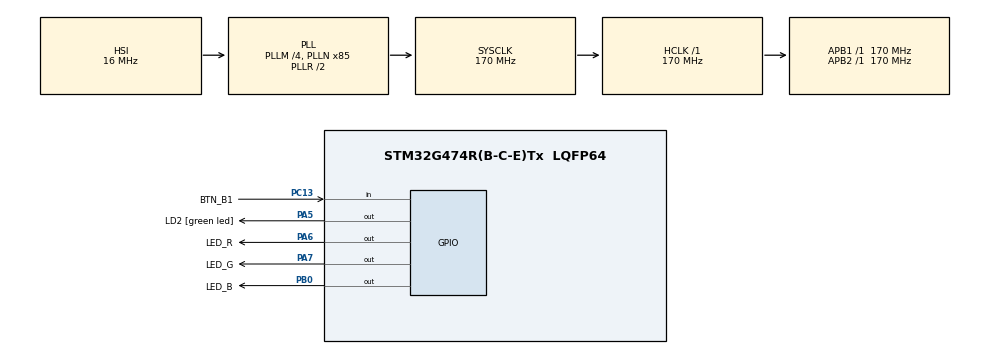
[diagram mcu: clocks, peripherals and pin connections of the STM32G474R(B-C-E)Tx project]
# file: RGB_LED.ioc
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Mcu.Family=STM32G4
Mcu.Name=STM32G474R(B-C-E)Tx
Mcu.Package=LQFP64
NUCLEO-G474RE.BUTTON=0
NUCLEO-G474RE.VCP=true
NVIC.PriorityGroup=NVIC_PRIORITYGROUP_4
PA13.GPIO_Label=T_SWDIO
PA13.Signal=SYS_JTMS-SWDIO
PA14.GPIO_Label=T_SWCLK
PA14.Signal=SYS_JTCK-SWCLK
PA5.GPIO_Label=LD2 [green led]
PA5.Signal=GPIO_Output
PA6.GPIO_Label=LED_R
PA6.Signal=GPIO_Output
PA7.GPIO_Label=LED_G
PA7.Signal=GPIO_Output
PB0.GPIO_Label=LED_B
PB0.Signal=GPIO_Output
PB3.GPIO_Label=T_SWO
PB3.Signal=SYS_JTDO-SWO
PC13.GPIO_Label=BTN_B1
PC13.GPIO_PuPd=GPIO_PULLUP
PC13.Signal=GPIO_Input
PC14-OSC32_IN.GPIO_Label=RCC_OSC32_IN
PC14-OSC32_IN.Signal=RCC_OSC32_IN
PC15-OSC32_OUT.GPIO_Label=RCC_OSC32_OUT
PC15-OSC32_OUT.Signal=RCC_OSC32_OUT
PF0-OSC_IN.GPIO_Label=RCC_OSC_IN
PF0-OSC_IN.Signal=RCC_OSC_IN
PF1-OSC_OUT.GPIO_Label=RCC_OSC_OUT
PF1-OSC_OUT.Signal=RCC_OSC_OUT
ProjectManager.HeapSize=0x200
ProjectManager.StackSize=0x400
ProjectManager.TargetToolchain=STM32CubeIDE
RCC.ADC12Freq_Value=170000000
RCC.ADC345Freq_Value=170000000
RCC.AHBFreq_Value=170000000
RCC.APB1Freq_Value=170000000
RCC.APB1TimFreq_Value=170000000
RCC.APB2Freq_Value=170000000
RCC.APB2TimFreq_Value=170000000
RCC.CortexFreq_Value=170000000
RCC.EXTERNAL_CLOCK_VALUE=12288000
RCC.HCLKFreq_Value=170000000
RCC.HSE_VALUE=24000000
RCC.HSI48_VALUE=48000000
RCC.HSI_VALUE=16000000
RCC.LSE_VALUE=32768
RCC.PLLM=RCC_PLLM_DIV4
RCC.PLLN=85
RCC.RTCClockSelection=RCC_RTCCLKSOURCE_LSE
RCC.SYSCLKFreq_VALUE=170000000
RCC.SYSCLKSource=RCC_SYSCLKSOURCE_PLLCLK
RCC.USBFreq_Value=170000000
RCC.VCOOutputFreq_Value=340000000
VP_NUCLEO-G474RE_VS_BSP_COMMON.Mode=COMMON
VP_SYS_VS_DBSignals.Mode=DisableDeadBatterySignals
board=NUCLEO-G474RE

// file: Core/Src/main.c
/* USER CODE BEGIN Header */
/* USER CODE END Header */
#include "main.h"

COM_InitTypeDef BspCOMInit;

/* USER CODE BEGIN PV */
#define LED_COMMON_ANODE 0

static inline void led_write(GPIO_TypeDef *port, uint16_t pin, uint8_t on)
{
  if (LED_COMMON_ANODE) {
    HAL_GPIO_WritePin(port, pin, on ? GPIO_PIN_RESET : GPIO_PIN_SET); // LOW=ON
  } else {
    HAL_GPIO_WritePin(port, pin, on ? GPIO_PIN_SET : GPIO_PIN_RESET); // HIGH=ON
  }
}

static inline void rgb(uint8_t r, uint8_t g, uint8_t b)
{
  led_write(GPIOA, GPIO_PIN_6, r); // R
  led_write(GPIOA, GPIO_PIN_7, g); // G
  led_write(GPIOB, GPIO_PIN_0, b); // B
}

/* USER CODE END PV */

void SystemClock_Config(void);
static void MX_GPIO_Init(void);

int main(void)
{

  /* MCU Configuration--------------------------------------------------------*/

  /* Reset of all peripherals, Initializes the Flash interface and the Systick. */
  HAL_Init();

  /* Configure the system clock */
  SystemClock_Config();

  /* Initialize all configured peripherals */
  MX_GPIO_Init();

  /* Initialize COM1 port (115200, 8 bits (7-bit data + 1 stop bit), no parity */
  BspCOMInit.BaudRate   = 115200;
  BspCOMInit.WordLength = COM_WORDLENGTH_8B;
  BspCOMInit.StopBits   = COM_STOPBITS_1;
  BspCOMInit.Parity     = COM_PARITY_NONE;
  BspCOMInit.HwFlowCtl  = COM_HWCONTROL_NONE;
  if (BSP_COM_Init(COM1, &BspCOMInit) != BSP_ERROR_NONE)
  {
    Error_Handler();
  }

  /* Infinite loop */
  /* USER CODE BEGIN WHILE */
  while (1)
  {
    rgb(1,0,0); HAL_Delay(600);  // Red
    rgb(0,1,0); HAL_Delay(600);  // Green
    rgb(0,0,1); HAL_Delay(600);  // Blue
    rgb(1,1,0); HAL_Delay(600);  // Yellow
    rgb(0,1,1); HAL_Delay(600);  // Cyan
    rgb(1,0,1); HAL_Delay(600);  // Magenta
    rgb(1,1,1); HAL_Delay(600);  // White
    rgb(0,0,0); HAL_Delay(600);  // Off
  }
  /* USER CODE END WHILE */

}

void SystemClock_Config(void)
{
  RCC_OscInitTypeDef RCC_OscInitStruct = {0};
  RCC_ClkInitTypeDef RCC_ClkInitStruct = {0};

  /** Configure the main internal regulator output voltage
  */
  HAL_PWREx_ControlVoltageScaling(PWR_REGULATOR_VOLTAGE_SCALE1_BOOST);

  /** Initializes the RCC Oscillators according to the specified parameters
  * in the RCC_OscInitTypeDef structure.
  */
  RCC_OscInitStruct.OscillatorType = RCC_OSCILLATORTYPE_HSI;
  RCC_OscInitStruct.HSIState = RCC_HSI_ON;
  RCC_OscInitStruct.HSICalibrationValue = RCC_HSICALIBRATION_DEFAULT;
  RCC_OscInitStruct.PLL.PLLState = RCC_PLL_ON;
  RCC_OscInitStruct.PLL.PLLSource = RCC_PLLSOURCE_HSI;
  RCC_OscInitStruct.PLL.PLLM = RCC_PLLM_DIV4;
  RCC_OscInitStruct.PLL.PLLN = 85;
  RCC_OscInitStruct.PLL.PLLP = RCC_PLLP_DIV2;
  RCC_OscInitStruct.PLL.PLLQ = RCC_PLLQ_DIV2;
  RCC_OscInitStruct.PLL.PLLR = RCC_PLLR_DIV2;
  if (HAL_RCC_OscConfig(&RCC_OscInitStruct) != HAL_OK)
  {
    Error_Handler();
  }

  /** Initializes the CPU, AHB and APB buses clocks
  */
  RCC_ClkInitStruct.ClockType = RCC_CLOCKTYPE_HCLK|RCC_CLOCKTYPE_SYSCLK
                              |RCC_CLOCKTYPE_PCLK1|RCC_CLOCKTYPE_PCLK2;
  RCC_ClkInitStruct.SYSCLKSource = RCC_SYSCLKSOURCE_PLLCLK;
  RCC_ClkInitStruct.AHBCLKDivider = RCC_SYSCLK_DIV1;
  RCC_ClkInitStruct.APB1CLKDivider = RCC_HCLK_DIV1;
  RCC_ClkInitStruct.APB2CLKDivider = RCC_HCLK_DIV1;

  if (HAL_RCC_ClockConfig(&RCC_ClkInitStruct, FLASH_LATENCY_4) != HAL_OK)
  {
    Error_Handler();
  }
}

static void MX_GPIO_Init(void)
{
  GPIO_InitTypeDef GPIO_InitStruct = {0};

  /* GPIO Ports Clock Enable */
  __HAL_RCC_GPIOC_CLK_ENABLE();
  __HAL_RCC_GPIOF_CLK_ENABLE();
  __HAL_RCC_GPIOA_CLK_ENABLE();
  __HAL_RCC_GPIOB_CLK_ENABLE();

  /*Configure GPIO pin Output Level */
  HAL_GPIO_WritePin(GPIOA, LD2_Pin|LED_R_Pin|LED_G_Pin, GPIO_PIN_RESET);

  /*Configure GPIO pin Output Level */
  HAL_GPIO_WritePin(LED_B_GPIO_Port, LED_B_Pin, GPIO_PIN_RESET);

  /*Configure GPIO pin : BTN_B1_Pin */
  GPIO_InitStruct.Pin = BTN_B1_Pin;
  GPIO_InitStruct.Mode = GPIO_MODE_INPUT;
  GPIO_InitStruct.Pull = GPIO_PULLUP;
  HAL_GPIO_Init(BTN_B1_GPIO_Port, &GPIO_InitStruct);

  /*Configure GPIO pins : LD2_Pin LED_R_Pin LED_G_Pin */
  GPIO_InitStruct.Pin = LD2_Pin|LED_R_Pin|LED_G_Pin;
  GPIO_InitStruct.Mode = GPIO_MODE_OUTPUT_PP;
  GPIO_InitStruct.Pull = GPIO_NOPULL;
  GPIO_InitStruct.Speed = GPIO_SPEED_FREQ_LOW;
  HAL_GPIO_Init(GPIOA, &GPIO_InitStruct);

  /*Configure GPIO pin : LED_B_Pin */
  GPIO_InitStruct.Pin = LED_B_Pin;
  GPIO_InitStruct.Mode = GPIO_MODE_OUTPUT_PP;
  GPIO_InitStruct.Pull = GPIO_NOPULL;
  GPIO_InitStruct.Speed = GPIO_SPEED_FREQ_LOW;
  HAL_GPIO_Init(LED_B_GPIO_Port, &GPIO_InitStruct);

}

void Error_Handler(void)
{
}
